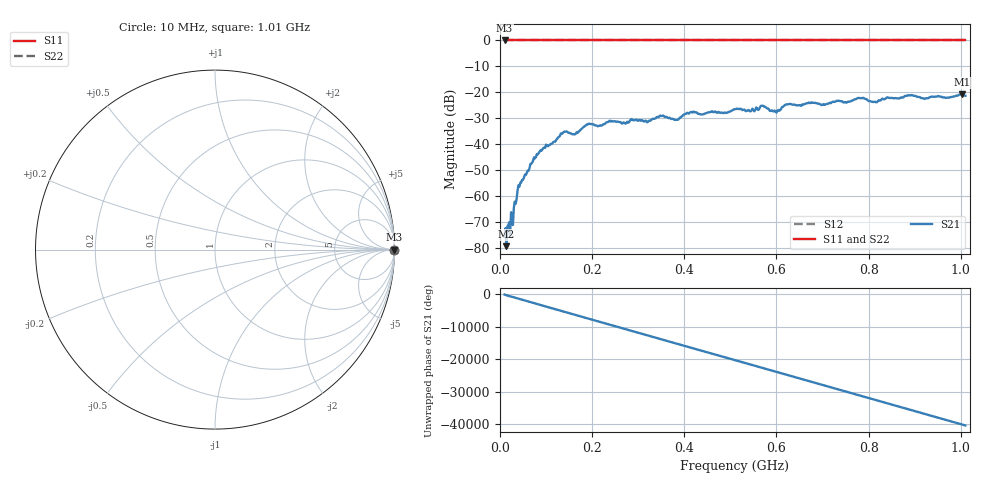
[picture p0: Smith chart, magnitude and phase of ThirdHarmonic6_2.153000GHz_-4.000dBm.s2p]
! 8/17/2025 1:42:13 AM
! C:\ANRITSUVNA\TEMP\TEMP.S2P
! CHANNEL.1
! TR.MEASUREMENT
! RAW.DATA
! RF.CORRECTION.OFF
! AVERAGING.OFF
! IF.BANDWIDTH: 5KHZ
! SWEEPTYPE:  FREQ.SWEEP(Linear)
! Reference Plane Port Info
! PORT:  PORT1  PORT2
! DISTANCE:  0  m  0  m
! TIME:  0  s  0  s
! PHASE.OFFSET:  0  deg.  0  deg.
! LOSS:  0  dB  0  dB
! REF.LOSS:  0  dB  0  dB
! REF.FREQ:  0  Hz  0  Hz
! Power Info
! POWER:  -20  dBm  -20  dBm
! EFF.POWER:  -20  dBm  -20  dBm
! SOURCE.ATTEN:  0  dB  0  dB
! TEST.ATTEN:  0  dB  0  dB
# GHZ S RI R 50.0
! FREQ.GHZ  S11RE  S11IM  S21RE  S21IM  S12RE  S12IM  S22RE  S22IM
!; PortSelection: Port_12
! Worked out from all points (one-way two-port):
!   501 points, 10 MHz to 1.01 GHz, reference 50 ohm
!   highest |S21| = -20.70 dB at 1.002 GHz (marker M1); lowest = -79.2 dB at 14 MHz (marker M2)
!   lowest |S11| = 0.0 dB at 10 MHz (marker M3)
!   |S11| at or under -10 dB: nowhere
!   |S22| runs from 0.0 to 0.0 dB; largest |S21 - S12| = 1.1
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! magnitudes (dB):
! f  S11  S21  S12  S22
! 10 MHz  0.0  -75.8  0.0  0.0
! 14 MHz  0.0  -79.2  0.0  0.0
! 26 MHz  0.0  -68.3  0.0  0.0
! 42 MHz  0.0  -56.4  0.0  0.0
! 76 MHz  0.0  -45.4  0.0  0.0
! 136 MHz  0.0  -35.7  0.0  0.0
! 160 MHz  0.0  -36.1  0.0  0.0
! 178 MHz  0.0  -33.8  0.0  0.0
! 192 MHz  0.0  -32.1  0.0  0.0
! 344 MHz  0.0  -29.5  0.0  0.0
! 384 MHz  0.0  -30.6  0.0  0.0
! 416 MHz  0.0  -27.5  0.0  0.0
! 510 MHz  0.0  -26.4  0.0  0.0
! 570 MHz  0.0  -25.1  0.0  0.0
! 596 MHz  0.0  -27.0  0.0  0.0
! 624 MHz  0.0  -24.6  0.0  0.0
! 678 MHz  0.0  -24.0  0.0  0.0
! 782 MHz  0.0  -22.2  0.0  0.0
! 814 MHz  0.0  -23.6  0.0  0.0
! 844 MHz  0.0  -22.1  0.0  0.0
! 1.002 GHz  0.0  -20.7  0.0  0.0
! 1.01 GHz  0.0  -21.3  0.0  0.0
